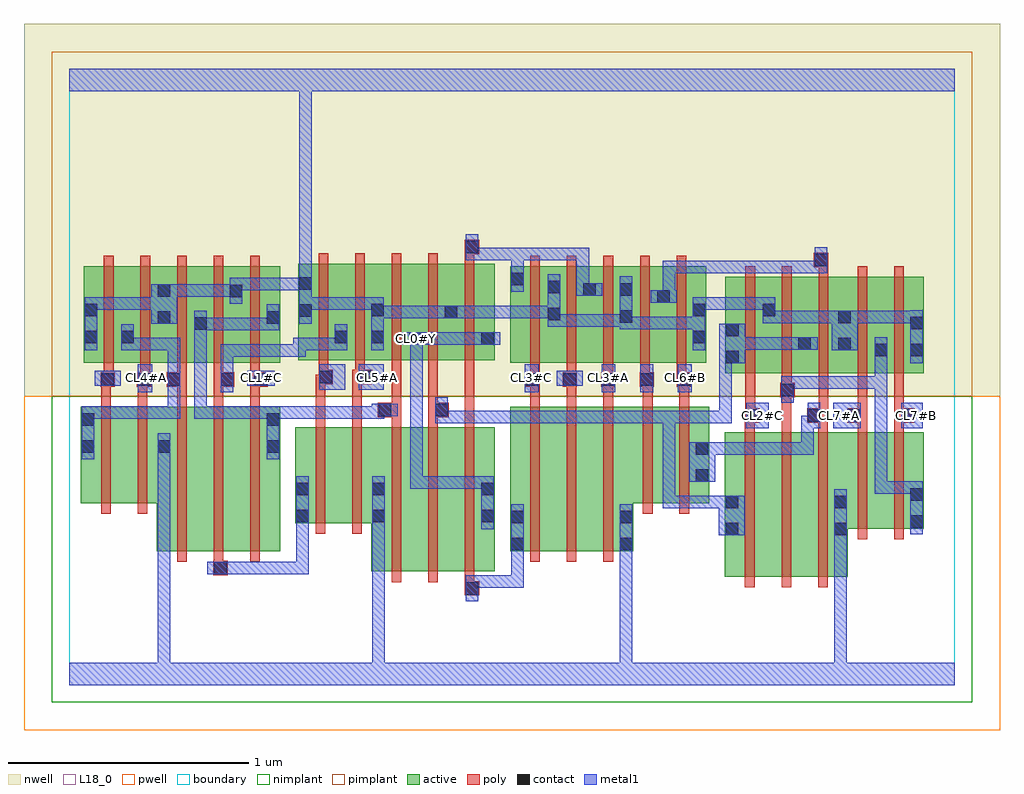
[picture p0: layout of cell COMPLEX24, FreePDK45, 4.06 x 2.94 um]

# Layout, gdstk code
import gdstk
lib = gdstk.Library(unit=1e-6, precision=1e-09)
def R(c, l, rs):  # rectangles x0, y0, x1, y1
    for r in rs: c.add(gdstk.rectangle(r[:2], r[2:], *l))
def A(c, l, x, y, w, h, nx, ny, dx, dy):  # array of equal rectangles
    R(c, l, [(x+i*dx, y+j*dy, x+i*dx+w, y+j*dy+h) for i in range(nx) for j in range(ny)])
active = (1, 0)
pwell = (2, 0)
nwell = (3, 0)
nimplant = (4, 0)
pimplant = (5, 0)
poly = (9, 0)
contact = (10, 0)
metal1 = (11, 0)
L18_0 = (18, 0)
boundary = (235, 0)

complex24 = lib.new_cell('COMPLEX24')
A(complex24, active, 0.06, 1.34, 0.212, 0.4, 3, 1, 0.152, 0)
R(complex24, active, [(2.724,0.45,2.904,1.05), (2.904,0.45,3.056,1.05), (3.056,0.45,3.236,1.05), (1.256,0.472,1.436,1.072), (1.436,0.472,1.588,1.072), (1.588,0.472,1.768,1.072), (0.364,0.556,0.544,1.156), (0.544,0.556,0.696,1.156), (0.696,0.556,0.876,1.156), (0.816,0.556,0.876,1.156), (1.708,0.556,1.768,1.072), (1.832,0.556,2.012,1.156), (1.832,0.556,1.892,1.156), (2.012,0.556,2.164,1.156), (2.164,0.556,2.344,1.156), (2.284,0.556,2.344,0.756), (2.724,0.556,2.784,1.05), (3.176,0.618,3.236,0.79), (3.176,0.65,3.372,1.05), (3.372,0.65,3.552,1.05), (3.492,0.65,3.552,1.05), (0.94,0.672,1,1.072), (0.94,0.672,1.12,1.072), (1.12,0.672,1.316,1.072), (1.256,0.672,1.316,0.844), (0.048,0.756,0.108,1.156), (0.048,0.756,0.228,1.156), (0.228,0.756,0.424,1.156), (0.364,0.756,0.424,1.156), (2.284,0.756,2.48,1.156), (2.48,0.756,2.66,1.156), (2.6,0.756,2.66,1.156), (2.726,1.296,2.786,1.644), (2.726,1.296,2.938,1.696), (2.878,1.296,2.938,1.644), (2.878,1.296,3.086,1.696), (3.026,1.296,3.086,1.644), (3.026,1.296,3.252,1.696), (3.192,1.296,3.252,1.644), (3.192,1.296,3.404,1.696), (3.344,1.296,3.404,1.644), (3.344,1.296,3.552,1.696), (3.492,1.296,3.552,1.644), (0.06,1.34,0.12,1.644), (0.212,1.34,0.272,1.644), (0.364,1.34,0.424,1.67), (0.516,1.34,0.724,1.74), (0.516,1.34,0.576,1.644), (0.664,1.34,0.876,1.74), (0.664,1.34,0.724,1.668), (0.816,1.34,0.876,1.644), (1.832,1.34,2.044,1.74), (1.984,1.34,2.192,1.74), (1.984,1.34,2.044,1.684), (2.132,1.34,2.344,1.74), (2.132,1.34,2.192,1.674), (2.284,1.34,2.5,1.74), (2.284,1.34,2.344,1.674), (2.44,1.34,2.648,1.74), (2.44,1.34,2.5,1.644), (2.588,1.34,2.648,1.644), (0.952,1.35,1.012,1.698), (0.952,1.35,1.16,1.75), (1.1,1.35,1.312,1.75), (1.1,1.35,1.16,1.644), (1.252,1.35,1.468,1.75), (1.252,1.35,1.312,1.644), (1.408,1.35,1.616,1.75), (1.408,1.35,1.468,1.644), (1.556,1.35,1.768,1.75), (1.556,1.35,1.616,1.644), (1.708,1.35,1.768,1.644), (1.832,1.452,1.892,1.74)])
R(complex24, pwell, [(-0.188,-0.188,3.868,1.2)])
R(complex24, nwell, [(-0.188,1.2,3.868,2.748)])
R(complex24, nimplant, [(-0.072,-0.072,3.752,1.2)])
R(complex24, pimplant, [(-0.072,1.2,3.752,2.632)])
A(complex24, poly, 2.808, 0.406, 0.04, 0.688, 3, 1, 0.152, 0)
A(complex24, poly, 1.34, 0.428, 0.04, 0.688, 3, 1, 0.152, 0)
A(complex24, poly, 0.448, 0.512, 0.04, 0.688, 3, 1, 0.152, 0)
A(complex24, poly, 1.916, 0.512, 0.04, 0.688, 3, 1, 0.152, 0)
A(complex24, poly, 0.448, 1.16, 0.04, 0.12, 3, 1, 0.152, 0)
A(complex24, poly, 1.916, 1.16, 0.04, 0.12, 3, 1, 0.152, 0)
A(complex24, poly, 2.05, 1.24, 0.06, 0.06, 3, 1, 0.16, 0)
A(complex24, poly, 2.81, 1.252, 0.04, 0.488, 3, 1, 0.152, 0)
A(complex24, poly, 0.144, 1.26, 0.04, 0.076, 5, 1, 0.152, 0)
A(complex24, poly, 1.916, 1.26, 0.04, 0.076, 5, 1, 0.152, 0)
A(complex24, poly, 0.144, 1.296, 0.04, 0.488, 5, 1, 0.152, 0)
A(complex24, poly, 1.916, 1.296, 0.04, 0.488, 5, 1, 0.152, 0)
A(complex24, poly, 1.036, 1.306, 0.04, 0.488, 5, 1, 0.152, 0)
R(complex24, poly, [(1.644,0.372,1.704,0.432), (1.644,0.392,1.684,0.468), (0.598,0.456,0.658,0.516), (0.6,0.476,0.64,0.552), (3.276,0.606,3.316,1.094), (3.428,0.606,3.468,1.094), (1.024,0.628,1.064,1.116), (1.176,0.628,1.216,1.116), (0.132,0.712,0.172,1.2), (0.284,0.712,0.324,1.2), (2.384,0.712,2.424,1.2), (2.536,0.712,2.576,1.2), (2.808,1.054,2.848,1.13), (2.96,1.054,3,1.236), (3.112,1.054,3.152,1.13), (3.276,1.054,3.316,1.13), (3.428,1.054,3.468,1.13), (1.024,1.076,1.064,1.29), (1.176,1.076,1.216,1.29), (1.34,1.076,1.38,1.152), (1.492,1.076,1.532,1.152), (1.644,1.076,1.684,1.31), (2.808,1.09,2.85,1.13), (2.81,1.09,2.85,1.13), (2.81,1.09,2.87,1.15), (3.066,1.09,3.152,1.15), (3.234,1.09,3.316,1.15), (3.428,1.09,3.514,1.15), (2.81,1.11,2.85,1.292), (3.112,1.11,3.152,1.15), (3.112,1.11,3.154,1.15), (3.114,1.11,3.154,1.292), (3.276,1.11,3.316,1.292), (3.276,1.11,3.316,1.15), (3.276,1.11,3.316,1.15), (3.428,1.11,3.468,1.292), (3.428,1.11,3.468,1.15), (3.428,1.11,3.468,1.15), (1.282,1.112,1.38,1.172), (1.492,1.112,1.578,1.172), (1.34,1.132,1.38,1.172), (1.34,1.132,1.38,1.172), (1.34,1.132,1.38,1.346), (1.492,1.132,1.532,1.172), (1.492,1.132,1.532,1.172), (1.492,1.132,1.532,1.346), (0.132,1.16,0.172,1.28), (0.284,1.16,0.324,1.28), (2.384,1.16,2.424,1.28), (2.536,1.16,2.576,1.28), (2.954,1.196,3.014,1.256), (2.96,1.196,3,1.236), (2.96,1.196,3,1.236), (2.962,1.216,3.002,1.292), (0.13,1.24,0.19,1.3), (0.28,1.24,0.34,1.3), (0.406,1.24,0.488,1.3), (0.6,1.24,0.64,1.28), (0.6,1.24,0.64,1.28), (0.6,1.24,0.686,1.3), (0.752,1.24,0.824,1.3), (1.896,1.24,1.956,1.3), (1.916,1.24,1.956,1.28), (1.916,1.24,1.956,1.28), (2.068,1.24,2.108,1.28), (2.068,1.24,2.108,1.28), (2.22,1.24,2.26,1.28), (2.22,1.24,2.26,1.28), (2.384,1.24,2.424,1.28), (2.384,1.24,2.424,1.28), (2.524,1.24,2.584,1.3), (2.536,1.24,2.576,1.28), (2.536,1.24,2.576,1.28), (1.024,1.25,1.076,1.29), (1.036,1.25,1.076,1.29), (1.036,1.25,1.096,1.31), (1.176,1.25,1.216,1.29), (1.176,1.25,1.216,1.29), (1.176,1.25,1.26,1.31), (3.276,1.252,3.316,1.74), (3.428,1.252,3.468,1.74), (0.144,1.26,0.184,1.3), (0.144,1.26,0.184,1.3), (0.296,1.26,0.336,1.3), (0.296,1.26,0.336,1.3), (0.448,1.26,0.488,1.3), (0.448,1.26,0.488,1.3), (0.752,1.26,0.792,1.3), (0.752,1.26,0.792,1.3), (1.036,1.27,1.076,1.346), (1.188,1.27,1.228,1.346), (1.644,1.27,1.684,1.31), (1.644,1.27,1.684,1.31), (1.644,1.27,1.684,1.31), (1.644,1.27,1.684,1.346), (3.114,1.7,3.154,1.776), (3.094,1.736,3.154,1.796), (1.644,1.754,1.684,1.83), (1.644,1.79,1.704,1.85)])
A(complex24, contact, 2.054, 1.244, 0.052, 0.052, 3, 1, 0.16, 0)
R(complex24, contact, [(1.648,0.376,1.7,0.428), (0.602,0.46,0.654,0.512), (1.836,0.56,1.888,0.612), (2.288,0.56,2.34,0.612), (2.728,0.622,2.78,0.674), (3.18,0.622,3.232,0.674), (3.496,0.654,3.548,0.706), (1.836,0.672,1.888,0.724), (2.288,0.672,2.34,0.724), (0.944,0.676,0.996,0.728), (1.26,0.676,1.312,0.728), (1.712,0.676,1.764,0.728), (2.728,0.734,2.78,0.786), (3.18,0.734,3.232,0.786), (3.496,0.766,3.548,0.818), (0.944,0.788,0.996,0.84), (1.26,0.788,1.312,0.84), (1.712,0.788,1.764,0.84), (2.604,0.844,2.656,0.896), (2.604,0.956,2.656,1.008), (0.052,0.966,0.104,1.018), (0.368,0.966,0.42,1.018), (0.82,0.966,0.872,1.018), (0.052,1.078,0.104,1.13), (0.82,1.078,0.872,1.13), (2.814,1.094,2.866,1.146), (3.07,1.094,3.122,1.146), (3.238,1.094,3.29,1.146), (3.458,1.094,3.51,1.146), (1.286,1.116,1.338,1.168), (1.522,1.116,1.574,1.168), (2.958,1.2,3.01,1.252), (0.134,1.244,0.186,1.296), (0.284,1.244,0.336,1.296), (0.41,1.244,0.462,1.296), (0.63,1.244,0.682,1.296), (0.768,1.244,0.82,1.296), (1.9,1.244,1.952,1.296), (2.528,1.244,2.58,1.296), (1.04,1.254,1.092,1.306), (1.204,1.254,1.256,1.306), (2.73,1.338,2.782,1.39), (3.348,1.366,3.4,1.418), (3.496,1.366,3.548,1.418), (3.196,1.392,3.248,1.444), (3.03,1.394,3.082,1.446), (1.412,1.414,1.464,1.466), (1.712,1.414,1.764,1.466), (0.064,1.42,0.116,1.472), (0.216,1.42,0.268,1.472), (1.104,1.42,1.156,1.472), (1.256,1.42,1.308,1.472), (2.592,1.42,2.644,1.472), (2.73,1.45,2.782,1.502), (0.52,1.476,0.572,1.528), (3.496,1.478,3.548,1.53), (0.368,1.502,0.42,1.554), (0.82,1.502,0.872,1.554), (3.196,1.504,3.248,1.556), (2.288,1.506,2.34,1.558), (1.988,1.516,2.04,1.568), (1.56,1.524,1.612,1.576), (0.956,1.53,1.008,1.582), (0.064,1.532,0.116,1.584), (1.256,1.532,1.308,1.584), (2.592,1.532,2.644,1.584), (2.882,1.532,2.934,1.584), (2.444,1.588,2.496,1.64), (0.668,1.612,0.72,1.664), (0.368,1.614,0.42,1.666), (2.136,1.618,2.188,1.67), (2.288,1.618,2.34,1.67), (1.988,1.628,2.04,1.68), (0.956,1.642,1.008,1.694), (1.836,1.662,1.888,1.714), (3.098,1.74,3.15,1.792), (1.648,1.794,1.7,1.846)])
R(complex24, metal1, [(0,0,3.68,0.092), (0.368,0.04,0.42,0.092), (0.368,0.04,0.42,0.092), (0.368,0.04,0.42,0.092), (0.368,0.04,0.42,0.092), (0.368,0.04,0.42,0.092), (0.368,0.04,0.42,0.092), (0.368,0.04,0.42,0.092), (0.368,0.04,0.42,0.092), (0.368,0.04,0.42,0.99), (1.26,0.04,1.312,0.092), (1.26,0.04,1.312,0.092), (1.26,0.04,1.312,0.092), (1.26,0.04,1.312,0.092), (1.26,0.04,1.312,0.7), (2.288,0.04,2.34,0.092), (2.288,0.04,2.34,0.092), (2.288,0.04,2.34,0.092), (2.288,0.04,2.34,0.092), (2.288,0.04,2.34,0.092), (2.288,0.04,2.34,0.092), (2.288,0.04,2.34,0.092), (2.288,0.04,2.34,0.092), (2.288,0.04,2.34,0.584), (3.18,0.04,3.232,0.092), (3.18,0.04,3.232,0.092), (3.18,0.04,3.232,0.092), (3.18,0.04,3.232,0.092), (3.18,0.04,3.232,0.092), (3.18,0.04,3.232,0.092), (3.18,0.04,3.232,0.092), (3.18,0.04,3.232,0.092), (3.18,0.04,3.232,0.646), (1.648,0.348,1.7,0.456), (1.648,0.404,1.764,0.456), (1.712,0.404,1.764,0.456), (1.712,0.404,1.888,0.456), (1.836,0.404,1.888,0.456), (1.836,0.404,1.888,0.584), (0.574,0.46,0.682,0.512), (0.63,0.46,0.682,0.512), (0.63,0.46,0.682,0.512), (0.63,0.46,0.872,0.512), (0.82,0.46,0.872,0.512), (0.82,0.46,0.872,0.512), (0.82,0.46,0.872,0.512), (0.82,0.46,0.996,0.512), (0.944,0.46,0.996,0.512), (0.944,0.46,0.996,0.7), (1.836,0.532,1.888,0.752), (2.288,0.532,2.34,0.752), (3.18,0.594,3.232,0.814), (2.7,0.622,2.808,0.786), (3.496,0.626,3.548,0.846), (0.944,0.648,0.996,0.7), (0.944,0.648,0.996,0.7), (0.944,0.648,0.996,0.7), (0.944,0.648,0.996,0.7), (0.944,0.648,0.996,0.868), (1.26,0.648,1.312,0.7), (1.26,0.648,1.312,0.7), (1.26,0.648,1.312,0.7), (1.26,0.648,1.312,0.7), (1.26,0.648,1.312,0.868), (1.712,0.648,1.764,0.868), (2.466,0.734,2.518,0.786), (2.466,0.734,2.518,0.786), (2.466,0.734,2.518,0.786), (2.466,0.734,2.628,0.786), (2.466,0.734,2.518,1.14), (2.576,0.734,2.628,0.786), (2.576,0.734,2.752,0.786), (3.348,0.794,3.4,0.846), (3.348,0.794,3.4,0.846), (3.348,0.794,3.4,0.846), (3.348,0.794,3.548,0.846), (3.348,0.794,3.4,1.284), (3.496,0.794,3.548,0.846), (3.496,0.794,3.548,0.846), (1.418,0.816,1.47,0.868), (1.418,0.816,1.47,0.868), (1.418,0.816,1.47,0.868), (1.418,0.816,1.59,0.868), (1.418,0.816,1.47,1.466), (1.538,0.816,1.59,0.868), (1.538,0.816,1.59,0.868), (1.538,0.816,1.59,0.868), (1.538,0.816,1.764,0.868), (1.712,0.816,1.764,0.868), (1.712,0.816,1.764,0.868), (2.576,0.844,2.684,1.008), (0.052,0.938,0.104,1.158), (0.368,0.938,0.42,1.046), (0.82,0.938,0.872,1.158), (2.632,0.956,2.824,1.008), (2.772,0.956,2.824,1.008), (2.772,0.956,2.824,1.008), (2.772,0.956,2.824,1.008), (2.772,0.956,2.944,1.008), (2.892,0.956,2.944,1.008), (2.892,0.956,2.944,1.008), (2.892,0.956,2.944,1.008), (2.892,0.956,3.094,1.008), (3.042,0.956,3.094,1.008), (3.042,0.956,3.094,1.118), (2.814,1.066,2.906,1.174), (3.042,1.066,3.094,1.118), (3.042,1.066,3.122,1.118), (3.07,1.066,3.122,1.174), (3.174,1.066,3.29,1.174), (3.458,1.066,3.546,1.174), (1.522,1.088,1.574,1.196), (1.522,1.088,1.626,1.14), (1.574,1.088,1.626,1.14), (1.574,1.088,1.764,1.14), (1.712,1.088,1.764,1.14), (1.712,1.088,1.764,1.14), (1.712,1.088,1.764,1.14), (1.712,1.088,1.874,1.14), (1.822,1.088,1.874,1.14), (1.822,1.088,1.874,1.14), (1.822,1.088,1.874,1.14), (1.822,1.088,2.044,1.14), (1.992,1.088,2.044,1.14), (1.992,1.088,2.044,1.14), (1.992,1.088,2.044,1.14), (1.992,1.088,2.044,1.14), (1.992,1.088,2.044,1.14), (1.992,1.088,2.23,1.14), (2.178,1.088,2.23,1.14), (2.178,1.088,2.23,1.14), (2.178,1.088,2.23,1.14), (2.178,1.088,2.358,1.14), (2.306,1.088,2.358,1.14), (2.306,1.088,2.358,1.14), (2.306,1.088,2.358,1.14), (2.306,1.088,2.518,1.14), (2.466,1.088,2.518,1.14), (2.466,1.088,2.518,1.14), (2.466,1.088,2.518,1.14), (2.466,1.088,2.518,1.14), (2.466,1.088,2.518,1.14), (2.466,1.088,2.714,1.14), (2.662,1.088,2.714,1.14), (2.662,1.088,2.714,1.14), (2.662,1.088,2.714,1.14), (2.662,1.088,2.754,1.14), (2.702,1.088,2.754,1.14), (2.702,1.088,2.754,1.39), (0.052,1.106,0.104,1.158), (0.052,1.106,0.104,1.158), (0.052,1.106,0.226,1.158), (0.174,1.106,0.226,1.158), (0.174,1.106,0.226,1.158), (0.174,1.106,0.226,1.158), (0.174,1.106,0.462,1.158), (0.41,1.106,0.462,1.158), (0.41,1.106,0.462,1.324), (0.52,1.106,0.572,1.158), (0.52,1.106,0.572,1.158), (0.52,1.106,0.572,1.158), (0.52,1.106,0.682,1.158), (0.52,1.106,0.572,1.5), (0.63,1.106,0.682,1.158), (0.63,1.106,0.682,1.158), (0.63,1.106,0.682,1.158), (0.63,1.106,0.872,1.158), (0.82,1.106,0.872,1.158), (0.82,1.106,0.872,1.158), (0.82,1.106,0.982,1.158), (0.93,1.106,0.982,1.158), (0.93,1.106,0.982,1.158), (0.93,1.106,0.982,1.158), (0.93,1.106,1.186,1.158), (1.134,1.106,1.186,1.158), (1.134,1.106,1.186,1.158), (1.134,1.106,1.186,1.158), (1.134,1.106,1.31,1.158), (1.258,1.106,1.31,1.158), (1.258,1.106,1.31,1.168), (1.258,1.116,1.31,1.168), (1.258,1.116,1.31,1.168), (1.258,1.116,1.366,1.168), (2.958,1.172,3.01,1.284), (0.284,1.216,0.346,1.334), (0.41,1.216,0.462,1.324), (0.63,1.216,0.682,1.324), (1.894,1.216,1.952,1.334), (2.214,1.216,2.27,1.334), (2.372,1.216,2.428,1.334), (2.528,1.216,2.586,1.334), (1.04,1.226,1.146,1.334), (1.204,1.226,1.306,1.334), (2.958,1.232,3.11,1.284), (3.058,1.232,3.11,1.284), (3.058,1.232,3.118,1.284), (3.066,1.232,3.118,1.284), (3.066,1.232,3.228,1.284), (3.176,1.232,3.228,1.284), (3.176,1.232,3.228,1.284), (3.176,1.232,3.228,1.284), (3.176,1.232,3.4,1.284), (3.348,1.232,3.4,1.284), (3.348,1.232,3.4,1.39), (0.106,1.244,0.214,1.306), (0.74,1.244,0.854,1.306), (2.026,1.244,2.134,1.306), (0.41,1.272,0.462,1.324), (0.41,1.272,0.462,1.324), (0.41,1.272,0.462,1.324), (0.41,1.272,0.462,1.324), (0.41,1.272,0.462,1.444), (0.63,1.272,0.682,1.324), (0.63,1.272,0.682,1.416), (2.702,1.338,2.81,1.502), (3.348,1.338,3.4,1.446), (3.496,1.338,3.548,1.558), (0.63,1.364,0.83,1.416), (0.778,1.364,0.83,1.416), (0.778,1.364,0.83,1.416), (0.778,1.364,0.83,1.416), (0.778,1.364,0.982,1.416), (0.93,1.364,0.982,1.416), (0.93,1.364,0.982,1.444), (0.064,1.392,0.116,1.612), (0.216,1.392,0.268,1.444), (0.216,1.392,0.268,1.444), (0.216,1.392,0.268,1.5), (0.216,1.392,0.462,1.444), (0.41,1.392,0.462,1.444), (0.93,1.392,0.982,1.444), (0.93,1.392,0.982,1.444), (0.93,1.392,0.982,1.444), (0.93,1.392,1.156,1.444), (1.104,1.392,1.156,1.5), (1.256,1.392,1.308,1.612), (2.592,1.392,2.644,1.612), (3.168,1.392,3.276,1.556), (2.758,1.394,2.834,1.446), (2.782,1.394,2.834,1.446), (2.782,1.394,2.944,1.446), (2.892,1.394,2.944,1.446), (2.892,1.394,2.944,1.446), (2.892,1.394,2.944,1.446), (2.892,1.394,3.054,1.446), (3.002,1.394,3.11,1.446), (1.384,1.414,1.494,1.466), (1.418,1.414,1.47,1.466), (1.418,1.414,1.47,1.466), (1.418,1.414,1.47,1.466), (1.418,1.414,1.47,1.466), (1.418,1.414,1.59,1.466), (1.538,1.414,1.59,1.466), (1.538,1.414,1.604,1.466), (1.552,1.414,1.604,1.466), (1.552,1.414,1.736,1.466), (1.684,1.414,1.736,1.466), (1.684,1.414,1.736,1.466), (1.684,1.414,1.792,1.466), (0.52,1.448,0.572,1.5), (0.52,1.448,0.572,1.5), (0.52,1.448,0.572,1.556), (0.52,1.474,0.682,1.526), (0.63,1.474,0.682,1.526), (0.63,1.474,0.682,1.526), (0.63,1.474,0.682,1.526), (0.63,1.474,0.872,1.526), (0.82,1.474,0.872,1.526), (0.82,1.474,0.872,1.526), (0.82,1.474,0.872,1.582), (2.288,1.478,2.34,1.53), (2.288,1.478,2.34,1.53), (2.288,1.478,2.34,1.698), (2.288,1.478,2.518,1.53), (2.466,1.478,2.518,1.53), (2.466,1.478,2.518,1.53), (2.466,1.478,2.518,1.53), (2.466,1.478,2.644,1.53), (1.988,1.488,2.04,1.54), (1.988,1.488,2.04,1.54), (1.988,1.488,2.04,1.54), (1.988,1.488,2.04,1.54), (1.988,1.488,2.04,1.54), (1.988,1.488,2.04,1.54), (1.988,1.488,2.04,1.708), (1.988,1.488,2.23,1.54), (2.178,1.488,2.23,1.54), (2.178,1.488,2.23,1.54), (2.178,1.488,2.23,1.54), (2.178,1.488,2.34,1.54), (0.34,1.502,0.448,1.666), (0.956,1.502,1.008,1.722), (2.882,1.504,2.934,1.612), (2.882,1.504,2.974,1.556), (2.922,1.504,2.974,1.556), (2.922,1.504,3.054,1.556), (3.002,1.504,3.054,1.556), (3.002,1.504,3.118,1.556), (3.066,1.504,3.118,1.556), (3.066,1.504,3.22,1.556), (3.224,1.504,3.276,1.556), (3.224,1.504,3.276,1.556), (3.224,1.504,3.386,1.556), (3.334,1.504,3.386,1.556), (3.334,1.504,3.548,1.556), (3.496,1.504,3.548,1.556), (3.496,1.504,3.548,1.556), (1.256,1.524,1.308,1.576), (1.256,1.524,1.308,1.576), (1.256,1.524,1.42,1.576), (1.368,1.524,1.42,1.576), (1.368,1.524,1.584,1.576), (1.532,1.524,1.584,1.576), (1.532,1.524,1.584,1.576), (1.532,1.524,1.64,1.576), (1.574,1.524,1.626,1.576), (1.574,1.524,1.626,1.576), (1.574,1.524,1.764,1.576), (1.712,1.524,1.764,1.576), (1.712,1.524,1.764,1.576), (1.712,1.524,1.764,1.576), (1.712,1.524,1.874,1.576), (1.822,1.524,1.874,1.576), (1.822,1.524,1.874,1.576), (1.822,1.524,1.874,1.576), (1.822,1.524,2.04,1.576), (0.064,1.56,0.116,1.612), (0.064,1.56,0.116,1.612), (0.064,1.56,0.246,1.612), (0.194,1.56,0.246,1.612), (0.194,1.56,0.246,1.612), (0.194,1.56,0.246,1.612), (0.194,1.56,0.392,1.612), (0.956,1.56,1.008,1.612), (0.956,1.56,1.008,1.612), (0.956,1.56,1.198,1.612), (1.146,1.56,1.198,1.612), (1.146,1.56,1.198,1.612), (1.146,1.56,1.198,1.612), (1.146,1.56,1.308,1.612), (2.592,1.56,2.644,1.612), (2.592,1.56,2.644,1.612), (2.592,1.56,2.696,1.612), (2.644,1.56,2.696,1.612), (2.644,1.56,2.824,1.612), (2.772,1.56,2.824,1.612), (2.772,1.56,2.934,1.612), (0.668,1.584,0.72,1.692), (2.416,1.588,2.524,1.64), (2.466,1.588,2.518,1.764), (0.396,1.614,0.516,1.666), (0.464,1.614,0.516,1.666), (0.464,1.614,0.572,1.666), (0.52,1.614,0.572,1.666), (0.52,1.614,0.626,1.666), (0.574,1.614,0.626,1.666), (0.574,1.614,0.72,1.666), (2.108,1.618,2.216,1.67), (2.108,1.618,2.16,1.818), (1.836,1.634,1.888,1.742), (0.668,1.64,0.83,1.692), (0.778,1.64,0.83,1.692), (0.778,1.64,0.83,1.692), (0.778,1.64,0.83,1.692), (0.778,1.64,1.008,1.692), (0.956,1.67,1.008,1.722), (0.956,1.67,1.008,1.722), (0.956,1.67,1.008,1.722), (0.956,1.67,1.008,1.722), (0.956,1.67,1.008,1.722), (0.956,1.67,1.008,1.722), (0.956,1.67,1.008,1.722), (0.956,1.67,1.008,1.722), (0.956,1.67,1.008,1.722), (0.956,1.67,1.008,1.722), (0.956,1.67,1.008,1.722), (0.956,1.67,1.008,1.722), (0.956,1.67,1.008,2.52), (1.836,1.69,1.888,1.818), (2.466,1.712,2.518,1.764), (2.466,1.712,2.518,1.764), (2.466,1.712,2.518,1.764), (2.466,1.712,2.696,1.764), (2.644,1.712,2.696,1.764), (2.644,1.712,2.696,1.764), (2.644,1.712,2.696,1.764), (2.644,1.712,2.824,1.764), (2.772,1.712,2.824,1.764), (2.772,1.712,2.944,1.764), (2.892,1.712,2.944,1.764), (2.892,1.712,2.944,1.764), (2.892,1.712,2.944,1.764), (2.892,1.712,3.054,1.764), (3.002,1.712,3.054,1.764), (3.002,1.712,3.15,1.764), (3.098,1.712,3.15,1.82), (1.648,1.766,1.7,1.874), (1.648,1.766,1.764,1.818), (1.712,1.766,1.764,1.818), (1.712,1.766,1.888,1.818), (1.836,1.766,1.888,1.818), (1.836,1.766,1.888,1.818), (1.836,1.766,1.888,1.818), (1.836,1.766,2.05,1.818), (1.998,1.766,2.05,1.818), (1.998,1.766,2.05,1.818), (1.998,1.766,2.05,1.818), (1.998,1.766,2.16,1.818), (2.108,1.766,2.16,1.818), (0,2.468,3.68,2.56), (0.956,2.468,1.008,2.52), (0.956,2.468,1.008,2.52), (0.956,2.468,1.008,2.52), (0.956,2.468,1.008,2.52)])
A(complex24, L18_0, 2.854, 1.094, 0.052, 0.052, 3, 1, 0.32, 0)
A(complex24, L18_0, 1.894, 1.254, 0.052, 0.052, 5, 1, 0.16, 0)
R(complex24, L18_0, [(0,0,3.68,0.092), (0.368,0.04,0.42,0.092), (0.368,0.04,0.42,0.092), (0.368,0.04,0.42,0.092), (0.368,0.04,0.42,0.092), (0.368,0.04,0.42,0.092), (0.368,0.04,0.42,0.092), (0.368,0.04,0.42,0.092), (0.368,0.04,0.42,0.092), (0.368,0.04,0.42,0.99), (1.26,0.04,1.312,0.092), (1.26,0.04,1.312,0.092), (1.26,0.04,1.312,0.092), (1.26,0.04,1.312,0.092), (1.26,0.04,1.312,0.7), (2.288,0.04,2.34,0.092), (2.288,0.04,2.34,0.092), (2.288,0.04,2.34,0.092), (2.288,0.04,2.34,0.092), (2.288,0.04,2.34,0.092), (2.288,0.04,2.34,0.092), (2.288,0.04,2.34,0.092), (2.288,0.04,2.34,0.092), (2.288,0.04,2.34,0.584), (3.18,0.04,3.232,0.092), (3.18,0.04,3.232,0.092), (3.18,0.04,3.232,0.092), (3.18,0.04,3.232,0.092), (3.18,0.04,3.232,0.092), (3.18,0.04,3.232,0.092), (3.18,0.04,3.232,0.092), (3.18,0.04,3.232,0.092), (3.18,0.04,3.232,0.646), (2.288,0.532,2.34,0.752), (3.18,0.594,3.232,0.814), (1.26,0.648,1.312,0.868), (1.26,0.648,1.312,0.7), (1.26,0.648,1.312,0.7), (1.26,0.648,1.312,0.7), (1.26,0.648,1.312,0.7), (1.712,0.648,1.764,0.868), (1.418,0.816,1.47,0.868), (1.418,0.816,1.47,0.868), (1.418,0.816,1.47,0.868), (1.418,0.816,1.47,1.466), (1.418,0.816,1.59,0.868), (1.538,0.816,1.59,0.868), (1.538,0.816,1.59,0.868), (1.538,0.816,1.59,0.868), (1.538,0.816,1.764,0.868), (1.712,0.816,1.764,0.868), (1.712,0.816,1.764,0.868), (0.368,0.938,0.42,1.046), (2.814,1.066,2.906,1.174), (3.174,1.066,3.29,1.174), (3.458,1.066,3.546,1.174), (0.284,1.216,0.346,1.334), (1.894,1.216,1.952,1.334), (2.214,1.216,2.27,1.334), (2.372,1.216,2.428,1.334), (2.528,1.216,2.586,1.334), (1.04,1.226,1.146,1.334), (1.204,1.226,1.306,1.334), (0.106,1.244,0.214,1.306), (0.74,1.244,0.854,1.306), (2.026,1.244,2.134,1.306), (0.134,1.254,0.186,1.306), (0.294,1.254,0.346,1.306), (0.774,1.254,0.826,1.306), (1.094,1.254,1.146,1.306), (1.254,1.254,1.306,1.306), (3.496,1.338,3.548,1.558), (0.064,1.392,0.116,1.612), (1.256,1.392,1.308,1.612), (2.592,1.392,2.644,1.612), (3.168,1.392,3.276,1.556), (1.384,1.414,1.494,1.466), (1.414,1.414,1.466,1.466), (1.418,1.414,1.47,1.466), (1.418,1.414,1.47,1.466), (1.418,1.414,1.47,1.466), (1.418,1.414,1.47,1.466), (1.418,1.414,1.59,1.466), (1.538,1.414,1.59,1.466), (1.538,1.414,1.604,1.466), (1.552,1.414,1.604,1.466), (1.552,1.414,1.736,1.466), (1.684,1.414,1.736,1.466), (1.684,1.414,1.736,1.466), (1.684,1.414,1.792,1.466), (2.288,1.478,2.34,1.698), (2.288,1.478,2.34,1.53), (2.288,1.478,2.34,1.53), (2.288,1.478,2.518,1.53), (2.466,1.478,2.518,1.53), (2.466,1.478,2.518,1.53), (2.466,1.478,2.518,1.53), (2.466,1.478,2.644,1.53), (1.988,1.488,2.04,1.708), (1.988,1.488,2.04,1.54), (1.988,1.488,2.04,1.54), (1.988,1.488,2.04,1.54), (1.988,1.488,2.04,1.54), (1.988,1.488,2.04,1.54), (1.988,1.488,2.04,1.54), (1.988,1.488,2.23,1.54), (2.178,1.488,2.23,1.54), (2.178,1.488,2.23,1.54), (2.178,1.488,2.23,1.54), (2.178,1.488,2.34,1.54), (0.34,1.502,0.448,1.666), (0.956,1.502,1.008,1.722), (2.882,1.504,2.934,1.612), (2.882,1.504,2.974,1.556), (2.922,1.504,2.974,1.556), (2.922,1.504,3.054,1.556), (3.002,1.504,3.054,1.556), (3.002,1.504,3.118,1.556), (3.066,1.504,3.118,1.556), (3.066,1.504,3.22,1.556), (3.224,1.504,3.276,1.556), (3.224,1.504,3.276,1.556), (3.224,1.504,3.386,1.556), (3.334,1.504,3.386,1.556), (3.334,1.504,3.548,1.556), (3.496,1.504,3.548,1.556), (3.496,1.504,3.548,1.556), (1.256,1.524,1.308,1.576), (1.256,1.524,1.308,1.576), (1.256,1.524,1.42,1.576), (1.368,1.524,1.42,1.576), (1.368,1.524,1.584,1.576), (1.532,1.524,1.584,1.576), (1.532,1.524,1.584,1.576), (1.532,1.524,1.64,1.576), (1.574,1.524,1.626,1.576), (1.574,1.524,1.626,1.576), (1.574,1.524,1.764,1.576), (1.712,1.524,1.764,1.576), (1.712,1.524,1.764,1.576), (1.712,1.524,1.764,1.576), (1.712,1.524,1.874,1.576), (1.822,1.524,1.874,1.576), (1.822,1.524,1.874,1.576), (1.822,1.524,1.874,1.576), (1.822,1.524,2.04,1.576), (0.064,1.56,0.116,1.612), (0.064,1.56,0.116,1.612), (0.064,1.56,0.246,1.612), (0.194,1.56,0.246,1.612), (0.194,1.56,0.246,1.612), (0.194,1.56,0.246,1.612), (0.194,1.56,0.392,1.612), (0.956,1.56,1.008,1.612), (0.956,1.56,1.008,1.612), (0.956,1.56,1.198,1.612), (1.146,1.56,1.198,1.612), (1.146,1.56,1.198,1.612), (1.146,1.56,1.198,1.612), (1.146,1.56,1.308,1.612), (2.592,1.56,2.644,1.612), (2.592,1.56,2.644,1.612), (2.592,1.56,2.696,1.612), (2.644,1.56,2.696,1.612), (2.644,1.56,2.824,1.612), (2.772,1.56,2.824,1.612), (2.772,1.56,2.934,1.612), (0.668,1.584,0.72,1.692), (0.396,1.614,0.516,1.666), (0.464,1.614,0.516,1.666), (0.464,1.614,0.572,1.666), (0.52,1.614,0.572,1.666), (0.52,1.614,0.626,1.666), (0.574,1.614,0.626,1.666), (0.574,1.614,0.72,1.666), (0.668,1.64,0.83,1.692), (0.778,1.64,0.83,1.692), (0.778,1.64,0.83,1.692), (0.778,1.64,0.83,1.692), (0.778,1.64,1.008,1.692), (0.956,1.67,1.008,1.722), (0.956,1.67,1.008,1.722), (0.956,1.67,1.008,1.722), (0.956,1.67,1.008,1.722), (0.956,1.67,1.008,1.722), (0.956,1.67,1.008,1.722), (0.956,1.67,1.008,1.722), (0.956,1.67,1.008,1.722), (0.956,1.67,1.008,1.722), (0.956,1.67,1.008,1.722), (0.956,1.67,1.008,1.722), (0.956,1.67,1.008,1.722), (0.956,1.67,1.008,2.52), (0,2.468,3.68,2.56), (0.956,2.468,1.008,2.52), (0.956,2.468,1.008,2.52), (0.956,2.468,1.008,2.52), (0.956,2.468,1.008,2.52)])
R(complex24, boundary, [(0,0,3.68,2.56)])
complex24.add(gdstk.Label('CL0#Y', (1.44,1.44), layer=11, texttype=0))
complex24.add(gdstk.Label('CL1#C', (0.8,1.28), layer=11, texttype=0))
complex24.add(gdstk.Label('CL2#C', (2.88,1.12), layer=11, texttype=0))
complex24.add(gdstk.Label('CL3#A', (2.24,1.28), layer=11, texttype=0))
complex24.add(gdstk.Label('CL3#B', (2.08,1.28), layer=11, texttype=0))
complex24.add(gdstk.Label('CL3#C', (1.92,1.28), layer=11, texttype=0))
complex24.add(gdstk.Label('CL4#A', (0.32,1.28), layer=11, texttype=0))
complex24.add(gdstk.Label('CL4#B', (0.16,1.28), layer=11, texttype=0))
complex24.add(gdstk.Label('CL5#A', (1.28,1.28), layer=11, texttype=0))
complex24.add(gdstk.Label('CL5#B', (1.12,1.28), layer=11, texttype=0))
complex24.add(gdstk.Label('CL6#A', (2.4,1.28), layer=11, texttype=0))
complex24.add(gdstk.Label('CL6#B', (2.56,1.28), layer=11, texttype=0))
complex24.add(gdstk.Label('CL7#A', (3.2,1.12), layer=11, texttype=0))
complex24.add(gdstk.Label('CL7#B', (3.52,1.12), layer=11, texttype=0))

lib.write_gds('COMPLEX24.gds')
